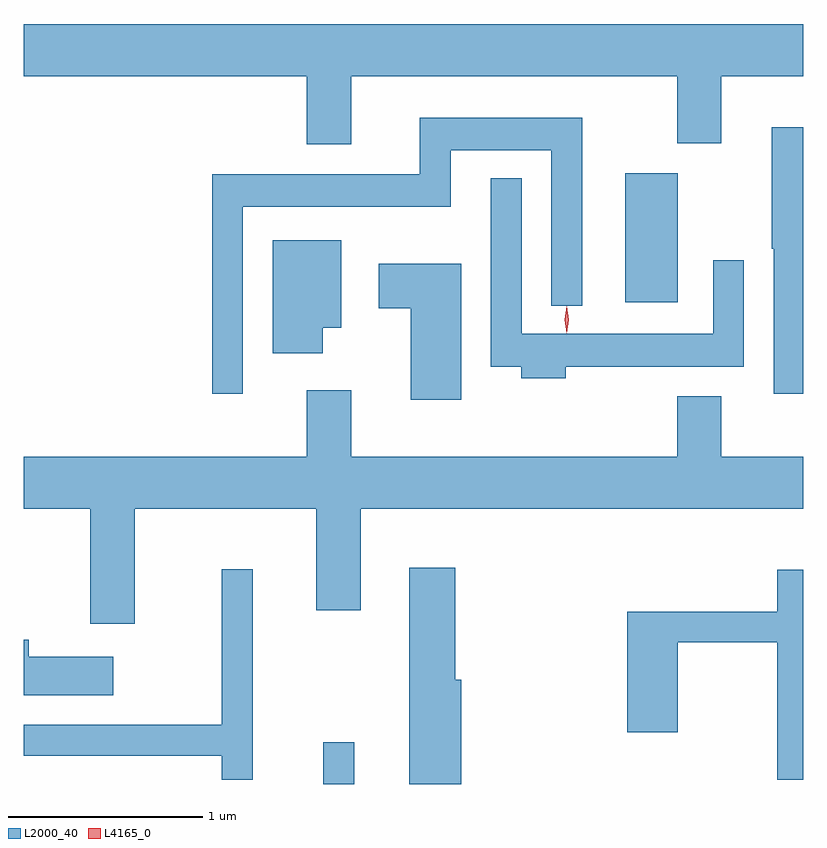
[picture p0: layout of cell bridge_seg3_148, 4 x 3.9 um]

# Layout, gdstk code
import gdstk
lib = gdstk.Library(unit=1e-6, precision=1e-09)
def R(c, l, rs):  # rectangles x0, y0, x1, y1
    for r in rs: c.add(gdstk.rectangle(r[:2], r[2:], *l))
def P(c, l, *ps):  # polygons
    for p in ps: c.add(gdstk.Polygon(p, *l))
L2000_40 = (2000, 40)
L4165_0 = (4165, 0)

bridge_seg3_148 = lib.new_cell('bridge_seg3_148')
R(bridge_seg3_148, L2000_40, [(903.386,1191.205,903.544,1191.418), (904.936,1193.676,905.204,1194.339)])
P(bridge_seg3_148, L2000_40, [(903.529,1194.836),(905.201,1194.836),(905.201,1194.491),(905.429,1194.491),(905.429,1194.836),(905.849,1194.836),(905.849,1195.104),(901.849,1195.104),(901.849,1194.836),(903.301,1194.836),(903.301,1194.486),(903.529,1194.486)],
  [(902.974,1194.166),(904.039,1194.166),(904.039,1194.456),(904.556,1194.456),(904.556,1193.658),(904.714,1193.658),(904.714,1194.624),(903.881,1194.624),(903.881,1194.334),(902.816,1194.334),(902.816,1193.208),(902.974,1193.208)],
  [(905.849,1194.574),(905.686,1194.574),(905.686,1193.95),(905.696,1193.95),(905.696,1193.208),(905.849,1193.208)],
  [(904.629,1193.346),(905.544,1193.346),(905.544,1193.893),(905.386,1193.893),(905.386,1193.514),(904.404,1193.514),(904.404,1194.313),(904.246,1194.313),(904.246,1193.346),(904.401,1193.346),(904.401,1193.286),(904.629,1193.286)],
  [(903.384,1193.546),(903.479,1193.546),(903.479,1193.994),(903.126,1193.994),(903.126,1193.416),(903.384,1193.416)],
  [(904.094,1193.874),(903.671,1193.874),(903.671,1193.646),(903.836,1193.646),(903.836,1193.176),(904.094,1193.176)],
  [(902.419,1192.616),(903.351,1192.616),(903.351,1192.096),(903.579,1192.096),(903.579,1192.616),(905.849,1192.616),(905.849,1192.884),(905.429,1192.884),(905.429,1193.194),(905.201,1193.194),(905.201,1192.884),(903.529,1192.884),(903.529,1193.224),(903.301,1193.224),(903.301,1192.884),(901.849,1192.884),(901.849,1192.616),(902.191,1192.616),(902.191,1192.026),(902.419,1192.026)],
  [(904.094,1191.739),(904.064,1191.739),(904.064,1192.314),(903.826,1192.314),(903.826,1191.205),(904.094,1191.205)],
  [(903.024,1192.308),(902.866,1192.308),(902.866,1191.509),(901.849,1191.509),(901.849,1191.351),(902.866,1191.351),(902.866,1191.228),(903.024,1191.228)],
  [(905.849,1192.304),(905.716,1192.304),(905.716,1192.089),(904.946,1192.089),(904.946,1191.471),(905.204,1191.471),(905.204,1191.931),(905.716,1191.931),(905.716,1191.226),(905.849,1191.226)],
  [(902.309,1191.859),(901.874,1191.859),(901.874,1191.944),(901.849,1191.944),(901.849,1191.661),(902.309,1191.661)])
P(bridge_seg3_148, L4165_0, [(904.634,1193.52),(904.634,1193.52),(904.624,1193.586),(904.634,1193.652),(904.634,1193.653),(904.635,1193.652),(904.644,1193.586),(904.635,1193.52)],
  [(904.635,1193.517),(904.626,1193.587),(904.635,1193.656),(904.636,1193.656),(904.636,1193.656),(904.646,1193.587),(904.636,1193.517),(904.636,1193.517)])

lib.write_gds('bridge_seg3_148.gds')
